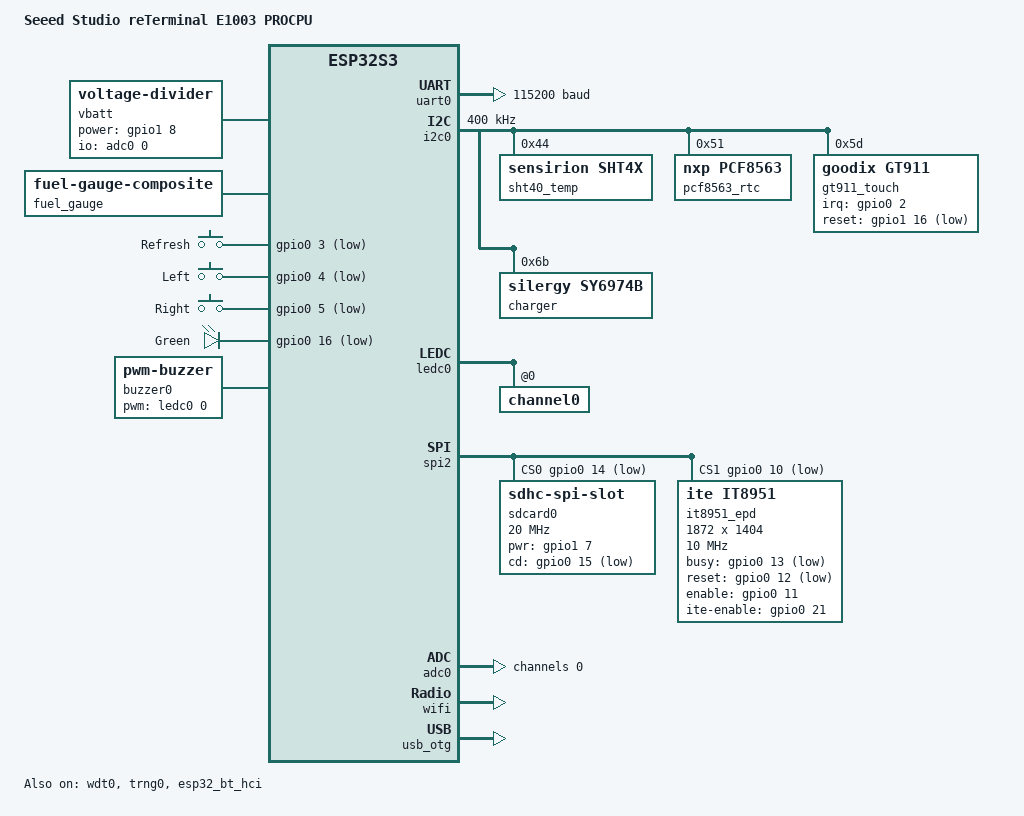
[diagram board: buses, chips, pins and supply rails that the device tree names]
/*
 * SPDX-FileCopyrightText: Copyright The Zephyr Project Contributors
 * SPDX-License-Identifier: Apache-2.0
 */

/dts-v1/;

#include <espressif/esp32s3/esp32s3_r8.dtsi>
#include <zephyr/dt-bindings/adc/adc.h>
#include <zephyr/dt-bindings/battery/battery.h>
#include <zephyr/dt-bindings/input/input-event-codes.h>
#include <zephyr/dt-bindings/pwm/pwm.h>
#include <zephyr/dt-bindings/gpio/gpio.h>
#include <espressif/partitions_0x0_amp_32M.dtsi>
#include "reterminal_e1003-pinctrl.dtsi"

/ {
	model = "Seeed Studio reTerminal E1003 PROCPU";
	compatible = "seeed,reterminal-e1003";

	chosen {
		zephyr,sram = &sram1;
		zephyr,console = &uart0;
		zephyr,shell-uart = &uart0;
		zephyr,flash = &flash0;
		zephyr,code-partition = &slot0_partition;
		zephyr,bt-hci = &esp32_bt_hci;
		zephyr,rtc = &pcf8563_rtc;
		zephyr,sdhc = &sdcard0;
		zephyr,display = &it8951_epd;
	};

	aliases {
		display0 = &it8951_epd;
		fuel-gauge0 = &fuel_gauge;
		i2c-0 = &i2c0;
		led0 = &green_led0;
		buzzer0 = &buzzer0;
		rtc = &pcf8563_rtc;
		sdhc0 = &sdcard0;
		sw0 = &refresh_key0;
		sw1 = &left_key1;
		sw2 = &right_key2;
		temp0 = &sht40_temp;
		uart-0 = &uart0;
		uart-1 = &uart1;
		watchdog0 = &wdt0;
	};

	vbatt: vbatt {
		compatible = "voltage-divider";
		io-channels = <&adc0 0>;
		output-ohms = <10000>;
		full-ohms = <20000>;
		power-gpios = <&gpio1 8 GPIO_ACTIVE_HIGH>;
		power-on-sample-delay-us = <10000>;
		skip-calibration;
	};

	fuel_gauge: fuel_gauge {
		compatible = "zephyr,fuel-gauge-composite";
		source-primary = <&vbatt>;
		device-chemistry = "lithium-ion-polymer";
		ocv-capacity-table-0 = <BATTERY_OCV_CURVE_LITHIUM_ION_POLYMER_DEFAULT>;
		charge-full-design-microamp-hours = <3000000>;
	};

	buttons {
		compatible = "gpio-keys";

		refresh_key0: button_0 {
			gpios = <&gpio0 3 (GPIO_PULL_UP | GPIO_ACTIVE_LOW)>;
			label = "Refresh";
			zephyr,code = <INPUT_KEY_0>;
		};

		left_key1: button_1 {
			gpios = <&gpio0 4 (GPIO_PULL_UP | GPIO_ACTIVE_LOW)>;
			label = "Left";
			zephyr,code = <INPUT_KEY_1>;
		};

		right_key2: button_2 {
			gpios = <&gpio0 5 (GPIO_PULL_UP | GPIO_ACTIVE_LOW)>;
			label = "Right";
			zephyr,code = <INPUT_KEY_2>;
		};
	};

	leds {
		compatible = "gpio-leds";

		green_led0: led_0 {
			gpios = <&gpio0 16 GPIO_ACTIVE_LOW>;
			label = "Green";
		};
	};

	buzzer0: buzzer0 {
		compatible = "pwm-buzzer";
		pwms = <&ledc0 0 PWM_HZ(50) PWM_POLARITY_NORMAL>;
	};
};

&dma {
	status = "okay";
};

&flash0 {
	reg = <0x0 DT_SIZE_M(32)>;
	ranges = <0x0 0x0 DT_SIZE_M(32)>;
};

&uart0 {
	status = "okay";
	current-speed = <115200>;
	pinctrl-0 = <&uart0_default>;
	pinctrl-names = "default";
};

&uart1 {
	status = "disabled";
	current-speed = <115200>;
	pinctrl-0 = <&uart1_default>;
	pinctrl-names = "default";
};

&i2c0 {
	status = "okay";
	clock-frequency = <I2C_BITRATE_FAST>;
	pinctrl-0 = <&i2c0_default>;
	pinctrl-names = "default";

	sht40_temp: sht4x@44 {
		status = "okay";
		compatible = "sensirion,sht4x";
		reg = <0x44>;
		repeatability = <2>;
	};

	pcf8563_rtc: pcf8563@51 {
		status = "okay";
		compatible = "nxp,pcf8563";
		reg = <0x51>;
	};

	gt911_touch: gt911@5d {
		compatible = "goodix,gt911";
		reg = <0x5d>;
		irq-gpios = <&gpio0 2 GPIO_ACTIVE_HIGH>;
		reset-gpios = <&gpio1 16 GPIO_ACTIVE_LOW>;
	};

	charger: sy6974b@6b {
		compatible = "silergy,sy6974b";
		reg = <0x6b>;
		constant-charge-current-max-microamp = <1500000>;
		constant-charge-voltage-max-microvolt = <4208000>;
	};
};

&ledc0 {
	status = "okay";
	#address-cells = <1>;
	#size-cells = <0>;
	pinctrl-0 = <&ledc0_default>;
	pinctrl-names = "default";

	channel0@0 {
		reg = <0x0>;
		timer = <0>;
	};
};

&gpio0 {
	status = "okay";
};

&gpio1 {
	status = "okay";
};

&spi2 {
	#address-cells = <1>;
	#size-cells = <0>;
	status = "okay";
	pinctrl-0 = <&spim2_default>;
	pinctrl-names = "default";
	cs-gpios = <&gpio0 14 GPIO_ACTIVE_LOW>, <&gpio0 10 GPIO_ACTIVE_LOW>;

	sdcard0: sdhc@0 {
		compatible = "zephyr,sdhc-spi-slot";
		reg = <0>;
		status = "okay";
		spi-max-frequency = <DT_FREQ_M(20)>;
		pwr-gpios = <&gpio1 7 GPIO_ACTIVE_HIGH>;
		cd-gpios = <&gpio0 15 GPIO_ACTIVE_LOW>;
		power-delay-ms = <5>;

		mmc {
			compatible = "zephyr,sdmmc-disk";
			disk-name = "SD";
			status = "okay";
		};
	};

	it8951_epd: it8951@1 {
		compatible = "ite,it8951";
		reg = <1>;
		status = "okay";
		spi-max-frequency = <DT_FREQ_M(10)>;
		width = <1872>;
		height = <1404>;
		busy-gpios = <&gpio0 13 (GPIO_PULL_UP | GPIO_ACTIVE_LOW)>;
		reset-gpios = <&gpio0 12 GPIO_ACTIVE_LOW>;
		enable-gpios = <&gpio0 11 GPIO_ACTIVE_HIGH>;
		ite-enable-gpios = <&gpio0 21 GPIO_ACTIVE_HIGH>;
		vcom-mv = <1400>;
		panel-temp-c = <16>;
		initial-refresh-waveform = <0>;
		refresh-waveform = <2>;
		h-mirror;
	};
};

&adc0 {
	status = "okay";
	#address-cells = <1>;
	#size-cells = <0>;

	channel@0 {
		reg = <0>;
		zephyr,gain = "ADC_GAIN_1_4";
		zephyr,reference = "ADC_REF_INTERNAL";
		zephyr,acquisition-time = <ADC_ACQ_TIME_DEFAULT>;
		zephyr,resolution = <12>;
	};
};

&timer0 {
	status = "disabled";
};

&timer1 {
	status = "disabled";
};

&timer2 {
	status = "disabled";
};

&timer3 {
	status = "disabled";
};

&wdt0 {
	status = "okay";
};

&trng0 {
	status = "okay";
};

&usb_serial {
	status = "disabled";
};

&esp32_bt_hci {
	status = "okay";
};

&wifi {
	status = "okay";
};

zephyr_udc0: &usb_otg {
	status = "okay";
};
